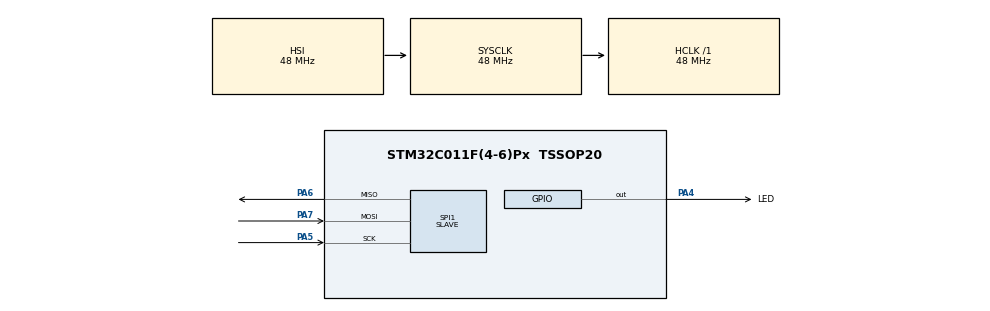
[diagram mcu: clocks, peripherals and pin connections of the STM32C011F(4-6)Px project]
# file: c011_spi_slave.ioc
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Mcu.Family=STM32C0
Mcu.Name=STM32C011F(4-6)Px
Mcu.Package=TSSOP20
NVIC.SPI1_IRQn=true\:0\:0\:false\:false\:true\:true\:true\:true
PA13.Mode=Serial_Wire
PA13.Signal=DEBUG_SWDIO
PA14-BOOT0.Mode=Serial_Wire
PA14-BOOT0.Signal=DEBUG_SWCLK
PA4.GPIO_Label=LED
PA4.GPIO_PuPd=GPIO_PULLDOWN
PA4.Signal=GPIO_Output
PA5.Mode=Full_Duplex_Slave
PA5.Signal=SPI1_SCK
PA6.Mode=Full_Duplex_Slave
PA6.Signal=SPI1_MISO
PA7.Mode=Full_Duplex_Slave
PA7.Signal=SPI1_MOSI
PC14-OSCX_IN\ (PC14).Mode=HSE-External-Oscillator-REMAPPED
PC14-OSCX_IN\ (PC14).Signal=RCC_OSCX_IN
PC15-OSCX_OUT\ (PC15).Mode=HSE-External-Oscillator-REMAPPED
PC15-OSCX_OUT\ (PC15).Signal=RCC_OSCX_OUT
ProjectManager.HeapSize=0x200
ProjectManager.StackSize=0x400
ProjectManager.TargetToolchain=STM32CubeIDE
RCC.ADCFreq_Value=48000000
RCC.AHBFreq_Value=48000000
RCC.CortexFreq_Value=48000000
RCC.EXTERNAL_CLOCK_VALUE=12288000
RCC.HCLKFreq_Value=48000000
RCC.HSE_VALUE=8000000
RCC.HSISYSCLKDivider=RCC_HSI_DIV1
RCC.HSI_VALUE=48000000
RCC.LSE_VALUE=32768
RCC.SYSCLKFreq_VALUE=48000000
SPI1.Direction=SPI_DIRECTION_2LINES
SPI1.Mode=SPI_MODE_SLAVE
SPI1.VirtualType=VM_SLAVE
board=custom

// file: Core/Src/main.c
/* USER CODE BEGIN Header */
/**
 ******************************************************************************
 * @file           : main.c
 * @brief          : Main program body
 ******************************************************************************
 * @attention
 *
 * Copyright (c) 2024 STMicroelectronics.
 * All rights reserved.
 *
 * This software is licensed under terms that can be found in the LICENSE file
 * in the root directory of this software component.
 * If no LICENSE file comes with this software, it is provided AS-IS.
 *
 ******************************************************************************
 */
/* USER CODE END Header */
#include "main.h"

/* USER CODE BEGIN Includes */
#include "stdio.h"
#include <stdlib.h>
#include "string.h"
/* USER CODE END Includes */

/* USER CODE BEGIN PD */
#define FLASH_USER_START_ADDR 0x08007800 // Start address of the flash memory
#define DATA_SIZE 30                     // Size of data to write (in bytes)

uint32_t rxData[DATA_SIZE];
uint32_t txData[DATA_SIZE];
uint32_t readData[DATA_SIZE];
volatile uint8_t data_received_flag = 0;
volatile uint8_t data_send_flag = 0;

/* USER CODE END PD */

SPI_HandleTypeDef hspi1;

void SystemClock_Config(void);
static void MX_GPIO_Init(void);
static void MX_SPI1_Init(void);
/* USER CODE BEGIN PFP */
uint32_t Flash_Write_Data(uint32_t StartPageAddress, uint64_t *Data, uint16_t numberofword);
void Flash_Read_Data(uint32_t StartPageAddress, uint64_t *RxBuf, uint16_t numberofwords);
void Erase_Flash(uint32_t address);
/* USER CODE END PFP */

/* USER CODE BEGIN 0 */

uint32_t Flash_Write_Data(uint32_t StartPageAddress, uint64_t *Data, uint16_t numberofword)
{
	HAL_FLASH_Unlock();

	// Erase the required flash page
	// Erase_Flash(StartPageAddress);

	// Program flash with the data
	for (uint32_t i = 0; i < numberofword; i++)
	{
		if (HAL_FLASH_Program(FLASH_TYPEPROGRAM_DOUBLEWORD, StartPageAddress + i * 8, Data[i]) != HAL_OK)
		{
			// Handle the error if programming fails
			HAL_FLASH_Lock();
			return 1;
		}
	}

	HAL_FLASH_Lock();
	return 0; // Success
}

void Erase_Flash(uint32_t address)
{
	HAL_FLASH_Unlock();

	FLASH_EraseInitTypeDef eraseInitStruct;
	uint32_t pageError;

	eraseInitStruct.TypeErase = FLASH_TYPEERASE_PAGES;
	eraseInitStruct.Page = (address - FLASH_BASE) / FLASH_PAGE_SIZE;
	eraseInitStruct.NbPages = 1; // Erase one page

	if (HAL_FLASHEx_Erase(&eraseInitStruct, &pageError) != HAL_OK)
	{
		// Handle the error if erase fails
		Error_Handler();
	}

	HAL_FLASH_Lock();
}

void Flash_Read_Data(uint32_t StartPageAddress, uint64_t *RxBuf, uint16_t numberofwords)
{
	for (uint32_t i = 0; i < numberofwords; i++)
	{
		RxBuf[i] = *(__IO uint64_t *)(StartPageAddress + i * 8); // 8 bytes per word
	}
}

void HAL_SPI_RxCpltCallback(SPI_HandleTypeDef *hspi)
{
	if (hspi->Instance == SPI1)
	{
		data_received_flag = 1;
	}
}

void HAL_SPI_TxCpltCallback(SPI_HandleTypeDef *hspi)
{
	if (hspi->Instance == SPI1)
	{
		data_send_flag = 1;
	}
}
/* USER CODE END 0 */

int main(void)
{

	/* MCU Configuration--------------------------------------------------------*/

	/* Reset of all peripherals, Initializes the Flash interface and the Systick. */
	HAL_Init();

	/* Configure the system clock */
	SystemClock_Config();

	/* Initialize all configured peripherals */
	MX_GPIO_Init();
	MX_SPI1_Init();
	/* USER CODE BEGIN 2 */
	HAL_SPI_Receive_IT(&hspi1, (uint8_t*)rxData, DATA_SIZE*4);
	//Erase_Flash(FLASH_USER_START_ADDR);
	/* USER CODE END 2 */

	/* Infinite loop */
	while (1)
	{

		/* USER CODE BEGIN 3 */
		if (data_received_flag)
		{
			data_received_flag = 0;
			Flash_Write_Data(FLASH_USER_START_ADDR, (uint64_t *)rxData, DATA_SIZE);
			Flash_Read_Data(FLASH_USER_START_ADDR, (uint64_t *)readData, DATA_SIZE);
			data_send_flag = 1;
		}

		if (data_send_flag)
		{
			data_send_flag = 0;
			HAL_SPI_Transmit_IT(&hspi1, (uint8_t*)readData, DATA_SIZE * 4);
		}

	}
	/* USER CODE END 3 */
}

void SystemClock_Config(void)
{
	RCC_OscInitTypeDef RCC_OscInitStruct = {0};
	RCC_ClkInitTypeDef RCC_ClkInitStruct = {0};

	/** Initializes the RCC Oscillators according to the specified parameters
	 * in the RCC_OscInitTypeDef structure.
	 */
	RCC_OscInitStruct.OscillatorType = RCC_OSCILLATORTYPE_HSI;
	RCC_OscInitStruct.HSIState = RCC_HSI_ON;
	RCC_OscInitStruct.HSIDiv = RCC_HSI_DIV1;
	RCC_OscInitStruct.HSICalibrationValue = RCC_HSICALIBRATION_DEFAULT;
	if (HAL_RCC_OscConfig(&RCC_OscInitStruct) != HAL_OK)
	{
		Error_Handler();
	}

	/** Initializes the CPU, AHB and APB buses clocks
	 */
	RCC_ClkInitStruct.ClockType = RCC_CLOCKTYPE_HCLK|RCC_CLOCKTYPE_SYSCLK
			|RCC_CLOCKTYPE_PCLK1;
	RCC_ClkInitStruct.SYSCLKSource = RCC_SYSCLKSOURCE_HSI;
	RCC_ClkInitStruct.SYSCLKDivider = RCC_SYSCLK_DIV1;
	RCC_ClkInitStruct.AHBCLKDivider = RCC_HCLK_DIV1;
	RCC_ClkInitStruct.APB1CLKDivider = RCC_APB1_DIV1;

	if (HAL_RCC_ClockConfig(&RCC_ClkInitStruct, FLASH_LATENCY_1) != HAL_OK)
	{
		Error_Handler();
	}
}

static void MX_SPI1_Init(void)
{

	/* SPI1 parameter configuration*/
	hspi1.Instance = SPI1;
	hspi1.Init.Mode = SPI_MODE_SLAVE;
	hspi1.Init.Direction = SPI_DIRECTION_2LINES;
	hspi1.Init.DataSize = SPI_DATASIZE_8BIT;
	hspi1.Init.CLKPolarity = SPI_POLARITY_LOW;
	hspi1.Init.CLKPhase = SPI_PHASE_1EDGE;
	hspi1.Init.NSS = SPI_NSS_SOFT;
	hspi1.Init.FirstBit = SPI_FIRSTBIT_MSB;
	hspi1.Init.TIMode = SPI_TIMODE_DISABLE;
	hspi1.Init.CRCCalculation = SPI_CRCCALCULATION_DISABLE;
	hspi1.Init.CRCPolynomial = 7;
	hspi1.Init.CRCLength = SPI_CRC_LENGTH_DATASIZE;
	hspi1.Init.NSSPMode = SPI_NSS_PULSE_DISABLE;
	if (HAL_SPI_Init(&hspi1) != HAL_OK)
	{
		Error_Handler();
	}

}

static void MX_GPIO_Init(void)
{
	GPIO_InitTypeDef GPIO_InitStruct = {0};

	/* GPIO Ports Clock Enable */
	__HAL_RCC_GPIOC_CLK_ENABLE();
	__HAL_RCC_GPIOA_CLK_ENABLE();

	/*Configure GPIO pin Output Level */
	HAL_GPIO_WritePin(LED_GPIO_Port, LED_Pin, GPIO_PIN_RESET);

	/*Configure GPIO pin : LED_Pin */
	GPIO_InitStruct.Pin = LED_Pin;
	GPIO_InitStruct.Mode = GPIO_MODE_OUTPUT_PP;
	GPIO_InitStruct.Pull = GPIO_PULLDOWN;
	GPIO_InitStruct.Speed = GPIO_SPEED_FREQ_LOW;
	HAL_GPIO_Init(LED_GPIO_Port, &GPIO_InitStruct);

}

void Error_Handler(void)
{
	__disable_irq();
	while (1)
	{
	}
}
